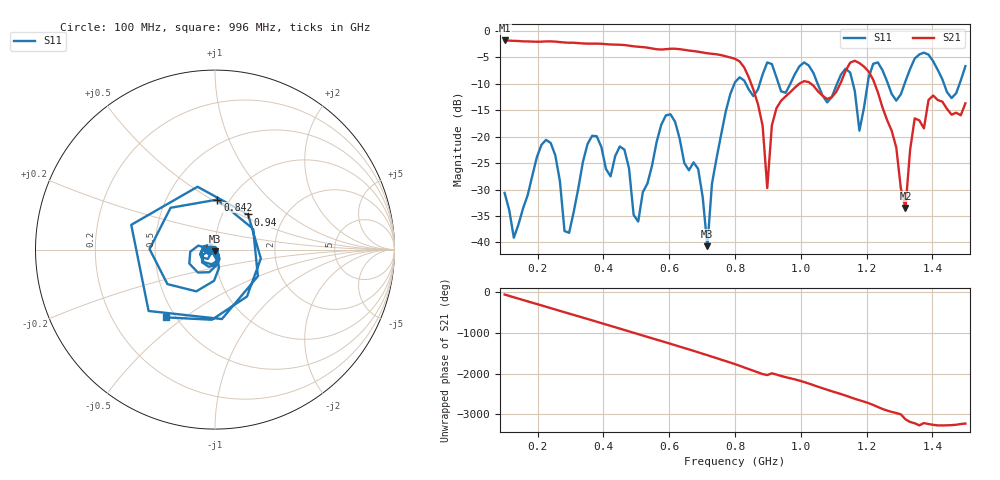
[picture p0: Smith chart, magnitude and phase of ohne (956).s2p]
! NanoVNA-App
! Date: 2025-09-25 14:28:14
! Start: 100MHz Stop: 1,5GHz Points: 101
! S-Parameter data: F S11 S21 S12 S22
# Hz S RI R 50
!  Frequency  S11_Real  S11_Imag  S21_Real  S21_Imag  S12_Real  S12_Imag  S22_Real  S22_Imag
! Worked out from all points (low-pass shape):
!   101 points, 100 MHz to 1.5 GHz, reference 50 ohm
!   highest |S21| = -1.79 dB at 100 MHz (marker M1); lowest = -33.5 dB at 1.318 GHz (marker M2)
!   |S21| within 3 dB of the highest: start of sweep to 772 MHz
!   lowest |S11| = -40.7 dB at 716 MHz (marker M3), VSWR 1.02, Z = 49.7 - j0.875 ohm
!   |S11| at or under -10 dB: start of sweep to 798 MHz; 833.1 MHz to 875.1 MHz (41.94 MHz wide, 4.91 % of centre); 1.051 GHz to 1.11 GHz (58.84 MHz wide, 5.44 % of centre) (the widest 3 of 7)
!   S12 and S22 are empty: the file has one direction only
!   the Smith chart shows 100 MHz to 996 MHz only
!   S11 on the Smith chart (normalised r, x): 100 MHz: 0.94, -0.01; 842 MHz: 0.88, +0.53; 940 MHz: 1.32, +0.56; 996 MHz: 0.45, -0.43
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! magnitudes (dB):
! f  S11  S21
! 100 MHz  -30.6  -1.8
! 128 MHz  -39.1  -1.9
! 226 MHz  -20.6  -2.0
! 296 MHz  -38.2  -2.2
! 338 MHz  -24.7  -2.4
! 464 MHz  -22.5  -2.7
! 506 MHz  -36.0  -3.0
! 576 MHz  -17.7  -3.5
! 688 MHz  -26.1  -3.9
! 716 MHz  -40.7  -4.2
! 800 MHz  -9.7  -5.3
! 842 MHz  -11.1  -8.8
! 898 MHz  -6.0  -29.7
! 940 MHz  -11.4  -13.2
! 996 MHz  -6.7  -9.9
! 1.038 GHz  -7.9  -10.3
! 1.178 GHz  -18.9  -6.1
! 1.22 GHz  -6.2  -9.2
! 1.276 GHz  -11.9  -18.9
! 1.318 GHz  -9.5  -33.5
! 1.346 GHz  -5.2  -16.5
! 1.5 GHz  -6.7  -13.7
